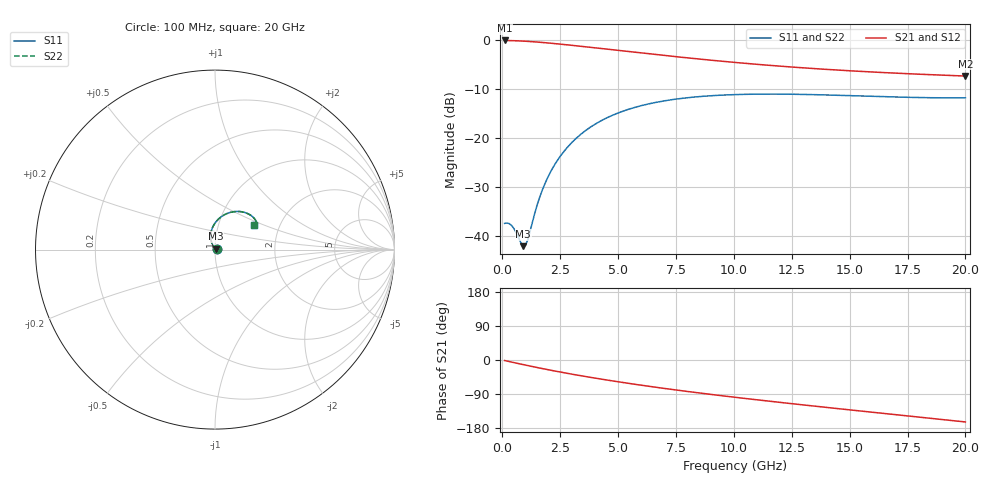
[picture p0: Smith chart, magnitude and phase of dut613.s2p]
! Touchstone file exported from HFSS 2024.1.0
!  File:  C:/UserFiles/LocalFiles/RDL_TSV_Batchsim/temp_RDL_TSV_613_1779799829.aedt
!  Generated:  09:10:20 PM May 26, 2026
!  Design:  RDL_TSV
!  Project:  temp_RDL_TSV_613_1779799829
!  Setup:  Setup1
!  Solution:  Sweep
! Variables:
!  dtsv = 6.44um
!  hbump = 3um
!  htsv = 93.73um
!  ldown = 520.82um
!  lrdl = 119.99um
!  p = 40
!  p1 = 45.05um
!  rhole = 10um
!  subl = 2042.42um
!  t = 450um
!  tdown = 4.08um
!  trdl = 2.58um
!  viad = 10um
!  wdown = 26.1um
!  wrdl = 10.3um
!  xbump = 18um
# GHz S MA R 50.000000
! Terminal data exported
! Port[1] = TM1_1_T1
! Port[2] = TM1_4_T1
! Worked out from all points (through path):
!   200 points, 100 MHz to 20 GHz, reference 50 ohm
!   highest |S21| = -0.12 dB at 100 MHz (marker M1); lowest = -7.4 dB at 20 GHz (marker M2)
!   group delay of S21, straight-line fit = 21.5 ps
!   lowest |S11| = -42.1 dB at 900 MHz (marker M3), VSWR 1.02, Z = 50.5 + j0.592 ohm
!   |S11| at or under -10 dB: start of sweep to end of sweep
!   |S22| runs from -42.1 to -11.1 dB; largest |S21 - S12| = 1e-14
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0.1  0.0134 3.6  0.9863 -1.4  0.9863 -1.4  0.0134 3.6
! Gamma 0 0 0 0
! Port Impedance 50 0 50 0
0.3  0.01333 7.4  0.984 -4.1  0.984 -4.1  0.01333 7.4
0.4  0.01276 9.1  0.9825 -5.5  0.9825 -5.5  0.01277 9.1
0.6  0.01078 15.8  0.9789 -8.2  0.9789 -8.2  0.01079 15.8
0.9  0.007841 48.3  0.9715 -12.1  0.9715 -12.1  0.007847 48.1
1  0.007979 66.6  0.9686 -13.4  0.9686 -13.4  0.007976 66.3
1.1  0.009116 83.5  0.9654 -14.7  0.9654 -14.7  0.0091 83.3
1.4  0.01694 109.7  0.9546 -18.6  0.9546 -18.6  0.01689 109.6
1.6  0.02417 114.8  0.9466 -21.1  0.9466 -21.1  0.0241 114.8
1.8  0.03229 116.2  0.938 -23.5  0.938 -23.5  0.03221 116.2
2.1  0.04562 115.2  0.9243 -27.1  0.9243 -27.1  0.04551 115.2
2.7  0.07456 109.1  0.8951 -34.0  0.8951 -34.0  0.0744 109.1
3.5  0.114 99.0  0.8549 -42.6  0.8549 -42.6  0.1138 99.0
4.2  0.1465 90.3  0.82 -49.7  0.82 -49.7  0.1462 90.3
4.9  0.1755 82.3  0.7861 -56.5  0.7861 -56.5  0.1752 82.3
5.8  0.207 73.2  0.7445 -64.7  0.7445 -64.7  0.2066 73.1
6.8  0.2341 64.3  0.7016 -73.4  0.7016 -73.4  0.2336 64.3
8.4  0.2623 52.8  0.6407 -86.2  0.6407 -86.2  0.2618 52.8
10.1  0.2766 43.6  0.5869 -98.8  0.5869 -98.8  0.2759 43.6
13.4  0.2762 32.7  0.5104 -121.2  0.5104 -121.2  0.2755 32.7
16.7  0.2622 29.3  0.4608 -142.5  0.4608 -142.5  0.2613 29.4
20  0.2562 31.8  0.4274 -163.5  0.4274 -163.5  0.2554 31.9
